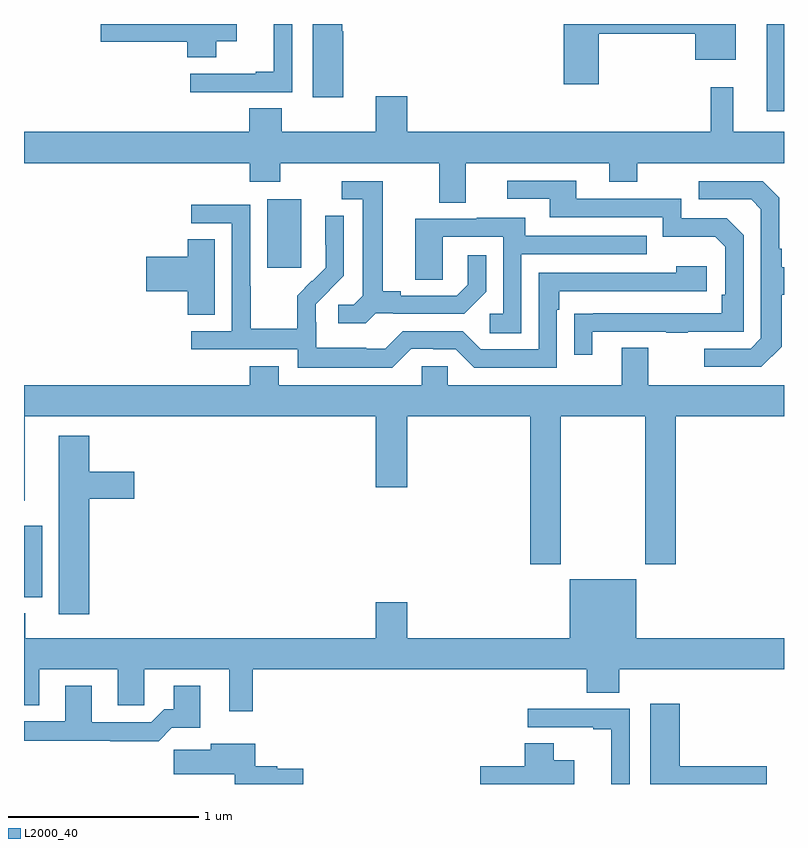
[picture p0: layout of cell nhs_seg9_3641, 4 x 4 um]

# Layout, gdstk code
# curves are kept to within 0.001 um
import gdstk
lib = gdstk.Library(unit=1e-6, precision=1e-09)
def R(c, l, rs):  # rectangles x0, y0, x1, y1
    for r in rs: c.add(gdstk.rectangle(r[:2], r[2:], *l))
def P(c, l, *ps):  # polygons
    for p in ps: c.add(gdstk.Polygon(p, *l))
L2000_40 = (2000, 40)

nhs_seg9_3641 = lib.new_cell('nhs_seg9_3641')
R(nhs_seg9_3641, L2000_40, [(319,1179.483,319.095,1179.859), (320.279,1181.217,320.458,1181.578), (322.91,1182.042,323,1182.5)])
P(nhs_seg9_3641, L2000_40, [(320.102,1182.141),(320.412,1182.141),(320.412,1182.5),(320.315,1182.5),(320.315,1182.25),(320.219,1182.25),(320.219,1182.237),(319.875,1182.237),(319.875,1182.14),(320.102,1182.14)],
  [(320.68,1182.462),(320.675,1182.462),(320.675,1182.5),(320.519,1182.5),(320.519,1182.114),(320.68,1182.114)],
  [(320.013,1182.41),(320.119,1182.41),(320.119,1182.5),(319.404,1182.5),(319.404,1182.406),(319.859,1182.406),(319.859,1182.326),(320.013,1182.326)],
  [(322.025,1182.448),(322.532,1182.448),(322.532,1182.311),(322.747,1182.311),(322.747,1182.5),(321.842,1182.5),(321.842,1182.183),(322.025,1182.183)],
  [(321.325,1181.768),(322.079,1181.768),(322.079,1181.669),(322.227,1181.669),(322.227,1181.768),(323,1181.768),(323,1181.932),(322.733,1181.932),(322.733,1182.166),(322.615,1182.166),(322.615,1181.932),(321.016,1181.932),(321.016,1182.121),(320.852,1182.121),(320.852,1181.932),(320.357,1181.932),(320.357,1182.056),(320.186,1182.056),(320.186,1181.932),(319,1181.932),(319,1181.768),(320.189,1181.768),(320.189,1181.669),(320.349,1181.669),(320.349,1181.768),(321.185,1181.768),(321.185,1181.56),(321.325,1181.56)],
  [(321.991,1180.881),(322.381,1180.881),(322.381,1180.876),(322.493,1180.876),(322.493,1180.881),(322.788,1180.881),(322.788,1181.388),(322.698,1181.478),(322.458,1181.478),(322.458,1181.58),(321.907,1181.58),(321.907,1181.676),(321.543,1181.676),(321.543,1181.58),(321.767,1181.58),(321.767,1181.484),(322.362,1181.484),(322.362,1181.381),(322.639,1181.381),(322.692,1181.328),(322.692,1181.074),(322.672,1181.074),(322.672,1180.977),(321.895,1180.976),(321.895,1180.758),(321.991,1180.758)],
  [(320.85,1180.977),(320.944,1180.977),(320.944,1180.974),(321.316,1180.974),(321.432,1181.09),(321.432,1181.284),(321.335,1181.284),(321.335,1181.127),(321.278,1181.07),(320.983,1181.07),(320.983,1181.093),(320.887,1181.093),(320.887,1181.673),(320.673,1181.673),(320.673,1181.577),(320.783,1181.577),(320.783,1181.069),(320.736,1181.022),(320.655,1181.022),(320.655,1180.925),(320.798,1180.925)],
  [(322.987,1180.801),(322.987,1181.074),(323,1181.074),(323,1181.221),(322.987,1181.221),(322.987,1181.317),(322.974,1181.317),(322.974,1181.586),(322.887,1181.673),(322.551,1181.673),(322.551,1181.577),(322.827,1181.577),(322.878,1181.526),(322.878,1180.845),(322.824,1180.791),(322.581,1180.791),(322.581,1180.695),(322.881,1180.695)],
  [(321.039,1180.791),(321.155,1180.791),(321.155,1180.788),(321.273,1180.788),(321.369,1180.692),(321.804,1180.692),(321.804,1180.997),(321.817,1180.997),(321.817,1181.094),(322.594,1181.094),(322.594,1181.224),(322.433,1181.224),(322.433,1181.19),(321.708,1181.19),(321.708,1180.788),(321.405,1180.788),(321.309,1180.884),(320.994,1180.884),(320.901,1180.791),(320.801,1180.791),(320.801,1180.795),(320.538,1180.795),(320.538,1180.929),(320.536,1180.929),(320.536,1181.026),(320.682,1181.174),(320.682,1181.492),(320.586,1181.492),(320.586,1181.338),(320.588,1181.338),(320.588,1181.216),(320.517,1181.145),(320.514,1181.148),(320.437,1181.071),(320.437,1180.897),(320.193,1180.897),(320.193,1181.12),(320.19,1181.12),(320.19,1181.55),(319.881,1181.55),(319.881,1181.451),(320.094,1181.451),(320.094,1180.884),(319.881,1180.884),(319.881,1180.788),(320.442,1180.788),(320.442,1180.691),(320.939,1180.691)],
  [(321.618,1181.289),(322.277,1181.289),(322.277,1181.385),(321.637,1181.385),(321.637,1181.479),(321.383,1181.479),(321.383,1181.475),(321.059,1181.475),(321.059,1181.155),(321.204,1181.155),(321.204,1181.379),(321.522,1181.379),(321.522,1180.974),(321.45,1180.974),(321.45,1180.873),(321.618,1180.873)],
  [(320.005,1181.366),(319.862,1181.366),(319.862,1181.276),(319.644,1181.276),(319.644,1181.093),(319.862,1181.093),(319.862,1180.969),(320.005,1180.969)],
  [(321.825,1180.436),(322.27,1180.436),(322.27,1179.657),(322.43,1179.657),(322.43,1180.436),(323,1180.436),(323,1180.6),(322.285,1180.6),(322.285,1180.795),(322.145,1180.795),(322.145,1180.6),(321.231,1180.6),(321.231,1180.698),(321.093,1180.698),(321.093,1180.6),(320.341,1180.6),(320.341,1180.699),(320.189,1180.699),(320.189,1180.6),(319,1180.6),(319,1179.99),(319.004,1179.99),(319.004,1180.436),(320.852,1180.436),(320.852,1180.062),(321.016,1180.062),(321.016,1180.436),(321.665,1180.436),(321.665,1179.657),(321.825,1179.657)],
  [(319.343,1180.001),(319.579,1180.001),(319.579,1180.143),(319.343,1180.143),(319.343,1180.333),(319.184,1180.333),(319.184,1179.393),(319.343,1179.393)],
  [(320.203,1179.104),(321.962,1179.104),(321.962,1178.98),(322.133,1178.98),(322.133,1179.104),(323,1179.104),(323,1179.268),(322.222,1179.268),(322.222,1179.577),(321.872,1179.577),(321.872,1179.268),(321.016,1179.268),(321.016,1179.457),(320.852,1179.457),(320.852,1179.268),(319.006,1179.268),(319.006,1179.398),(319,1179.398),(319,1178.914),(319.081,1178.914),(319.081,1179.104),(319.493,1179.104),(319.493,1178.914),(319.632,1178.914),(319.632,1179.104),(320.081,1179.104),(320.081,1178.883),(320.203,1178.883)],
  [(319.778,1178.795),(319.927,1178.795),(319.927,1179.016),(319.787,1179.016),(319.787,1178.893),(319.738,1178.893),(319.671,1178.826),(319.357,1178.826),(319.357,1179.016),(319.217,1179.016),(319.217,1178.829),(319,1178.829),(319,1178.728),(319.453,1178.728),(319.453,1178.726),(319.709,1178.726)],
  [(322.909,1178.594),(322.451,1178.594),(322.451,1178.923),(322.295,1178.923),(322.295,1178.5),(322.909,1178.5)],
  [(322.188,1178.895),(321.878,1178.895),(321.878,1178.897),(321.651,1178.897),(321.651,1178.799),(321.995,1178.799),(321.995,1178.787),(322.091,1178.787),(322.091,1178.5),(322.188,1178.5)],
  [(321.895,1178.626),(321.789,1178.626),(321.789,1178.714),(321.635,1178.714),(321.635,1178.594),(321.402,1178.594),(321.402,1178.5),(321.895,1178.5)],
  [(320.471,1178.581),(320.334,1178.581),(320.334,1178.594),(320.218,1178.594),(320.218,1178.713),(319.982,1178.713),(319.982,1178.681),(319.788,1178.681),(319.788,1178.552),(320.108,1178.552),(320.108,1178.5),(320.471,1178.5)])

lib.write_gds('nhs_seg9_3641.gds')
